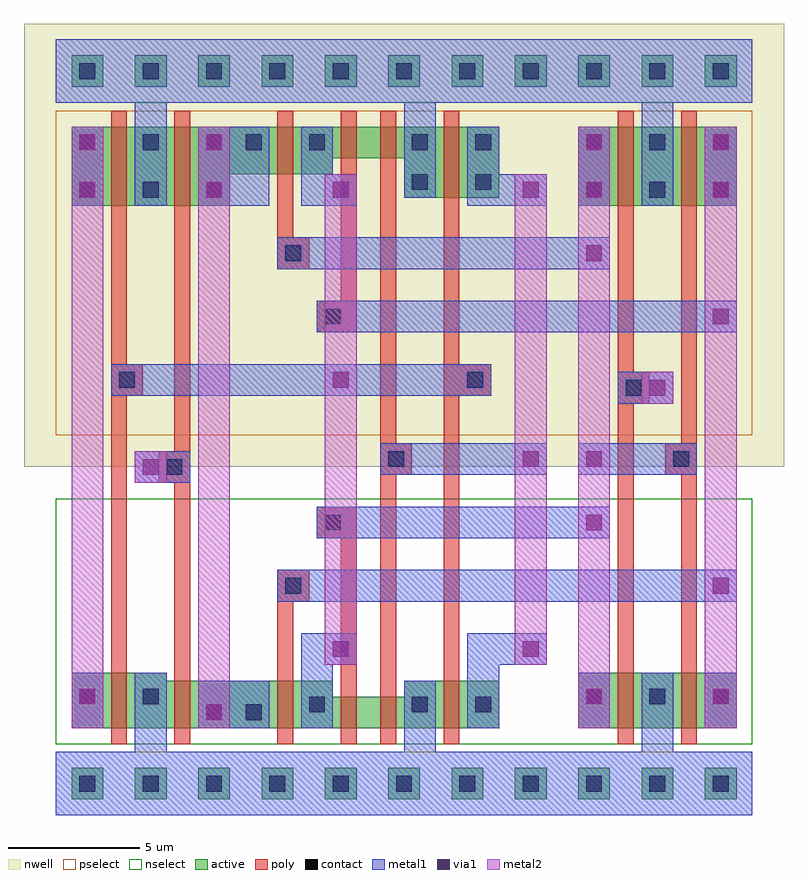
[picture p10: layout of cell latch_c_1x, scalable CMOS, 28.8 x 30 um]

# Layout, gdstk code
import gdstk
lib = gdstk.Library(unit=1e-6, precision=1e-09)
def R(c, l, rs):  # rectangles x0, y0, x1, y1
    for r in rs: c.add(gdstk.rectangle(r[:2], r[2:], *l))
def A(c, l, x, y, w, h, nx, ny, dx, dy):  # array of equal rectangles
    R(c, l, [(x+i*dx, y+j*dy, x+i*dx+w, y+j*dy+h) for i in range(nx) for j in range(ny)])
contact = (25, 0)
nwell = (42, 0)
active = (43, 0)
pselect = (44, 0)
nselect = (45, 0)
poly = (46, 0)
metal1 = (49, 0)
via1 = (50, 0)
metal2 = (51, 0)

latch_c_1x = lib.new_cell('latch_c_1x')
A(latch_c_1x, contact, -2.1, -0.3, 0.6, 0.6, 11, 2, 2.4, 27)
A(latch_c_1x, contact, 17.1, 3, 0.6, 0.6, 3, 2, 2.4, 19.2)
A(latch_c_1x, contact, -2.1, 22.2, 0.6, 0.6, 3, 2, 2.4, 1.8)
A(latch_c_1x, contact, 17.1, 24, 0.6, 0.6, 3, 1, 2.4, 0)
R(latch_c_1x, contact, [(2.7,2.4,3.3,3), (4.2,2.4,4.8,3), (6.6,2.7,7.2,3.3), (10.5,2.7,11.1,3.3), (12.9,2.7,13.5,3.3), (-2.1,3,-1.5,3.6), (0.3,3,0.9,3.6), (5.7,7.2,6.3,7.8), (7.2,9.6,7.8,10.2), (1.2,11.7,1.8,12.3), (9.6,12,10.2,12.6), (20.4,12,21,12.6), (18.6,14.7,19.2,15.3), (-0.6,15,0,15.6), (12.6,15,13.2,15.6), (7.2,17.4,7.8,18), (5.7,19.8,6.3,20.4), (10.5,22.5,11.1,23.1), (12.9,22.5,13.5,23.1), (4.2,24,4.8,24.6), (6.6,24,7.2,24.6), (10.5,24,11.1,24.6), (12.9,24,13.5,24.6)])
R(latch_c_1x, nwell, [(-4.2,12,24.6,28.8)])
A(latch_c_1x, active, -2.4, -0.6, 1.2, 1.2, 11, 2, 2.4, 27)
R(latch_c_1x, active, [(-2.4,2.1,1.2,4.2), (1.2,2.1,7.5,3.9), (7.5,2.1,10.2,3.3), (10.2,2.1,13.8,3.9), (16.8,2.1,22.8,4.2), (-2.4,21.9,3.6,24.9), (16.8,21.9,22.8,24.9), (10.2,22.2,13.8,24.9), (3.3,23.1,7.5,24.9), (7.5,23.7,11.4,24.9)])
R(latch_c_1x, pselect, [(-3,-1.2,23.4,1.2), (-3,13.2,23.4,25.5)])
R(latch_c_1x, nselect, [(-3,1.5,23.4,10.8), (-3,25.8,23.4,28.2)])
R(latch_c_1x, poly, [(-0.9,1.5,-0.3,25.5), (1.5,1.5,2.1,25.5), (5.4,1.5,6,6.9), (7.8,1.5,8.4,10.5), (9.3,1.5,9.9,25.5), (11.7,1.5,12.3,25.5), (18.3,1.5,18.9,25.5), (20.7,1.5,21.3,25.5), (5.4,6.9,6.6,8.1), (6.9,9.3,8.1,10.5), (0.9,11.4,2.1,12.6), (9.3,11.7,10.5,12.9), (20.1,11.7,21.3,12.9), (18.3,14.4,19.5,15.6), (-0.9,14.7,0.3,15.9), (12.3,14.7,13.5,15.9), (6.9,17.1,8.1,18.3), (7.8,17.1,8.4,25.5), (5.4,19.5,6.6,20.7), (5.4,19.5,6,25.5)])
R(latch_c_1x, metal1, [(-3,-1.2,23.4,1.2), (0,1.2,1.2,4.2), (10.2,1.2,11.4,3.9), (19.2,1.2,20.4,4.2), (-2.4,2.1,-1.2,4.2), (2.4,2.1,3.6,3.9), (2.4,2.1,5.1,3.9), (6.3,2.1,7.5,4.5), (12.6,2.1,13.8,4.5), (16.8,2.1,18,4.2), (21.6,2.1,22.8,4.2), (6.3,4.5,8.4,5.7), (12.6,4.5,15.6,5.7), (5.4,6.9,6.6,8.1), (5.4,6.9,22.8,8.1), (6.9,9.3,8.1,10.5), (7.2,9.3,18,10.5), (0,11.4,2.1,12.6), (9.3,11.7,10.5,12.9), (9.3,11.7,15.6,12.9), (16.8,11.7,21.3,12.9), (20.1,11.7,21.3,12.9), (18.3,14.4,20.4,15.6), (-0.9,14.7,0.3,15.9), (-0.9,14.7,13.5,15.9), (12.3,14.7,13.5,15.9), (6.9,17.1,8.1,18.3), (7.2,17.1,22.8,18.3), (5.4,19.5,6.6,20.7), (5.4,19.5,18,20.7), (-2.4,21.9,-1.2,24.9), (0,21.9,1.2,25.8), (2.4,21.9,5.1,24.9), (6.3,21.9,8.4,23.1), (12.6,21.9,15.6,23.1), (16.8,21.9,18,24.9), (19.2,21.9,20.4,25.8), (21.6,21.9,22.8,24.9), (10.2,22.2,11.4,25.8), (12.6,22.5,13.8,24.9), (6.3,23.1,7.5,24.9), (-3,25.8,23.4,28.2)])
A(latch_c_1x, via1, -2.1, 22.2, 0.6, 0.6, 3, 1, 4.8, 0)
R(latch_c_1x, via1, [(2.7,2.4,3.3,3), (-2.1,3,-1.5,3.6), (17.1,3,17.7,3.6), (21.9,3,22.5,3.6), (7.5,4.8,8.1,5.4), (14.7,4.8,15.3,5.4), (21.9,7.2,22.5,7.8), (17.1,9.6,17.7,10.2), (0.3,11.7,0.9,12.3), (14.7,12,15.3,12.6), (17.1,12,17.7,12.6), (19.5,14.7,20.1,15.3), (7.5,15,8.1,15.6), (21.9,17.4,22.5,18), (17.1,19.8,17.7,20.4), (14.7,22.2,15.3,22.8), (17.1,22.2,17.7,22.8), (21.9,22.2,22.5,22.8), (-2.1,24,-1.5,24.6), (2.7,24,3.3,24.6), (17.1,24,17.7,24.6), (21.9,24,22.5,24.6)])
R(latch_c_1x, metal2, [(-2.4,2.1,-1.2,24.9), (2.4,2.1,3.6,24.9), (16.8,2.1,18,24.9), (21.6,2.1,22.8,24.9), (7.2,4.5,8.4,23.1), (14.4,4.5,15.6,23.1), (0,11.4,1.2,12.6), (19.2,14.4,20.4,15.6), (-2.4,17.4,-1.2,18.6)])

lib.write_gds('latch_c_1x.gds')
